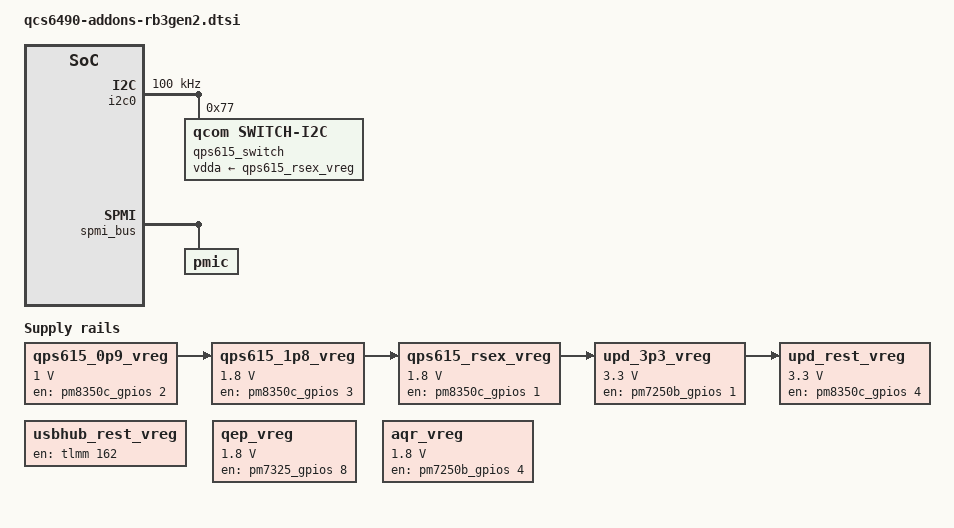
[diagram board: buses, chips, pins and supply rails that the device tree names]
// SPDX-License-Identifier: BSD-3-Clause
/*
 * qcm6490-addons-rb3gen2 device tree source include
 *
 * Copyright (c) 2024 Qualcomm Innovation Center, Inc. All rights reserved.
 *
 */
#include "qcm6490-addons.dtsi"

/ {
	qps615_0p9_vreg: qps615-0p9-vreg {
		compatible = "regulator-fixed";
		regulator-name = "qps615_0p9_vreg";
		gpio = <&pm8350c_gpios 2 0>;
		regulator-min-microvolt = <1000000>;
		regulator-max-microvolt = <1000000>;
		enable-active-high;
		regulator-enable-ramp-delay = <4300>;
	};

	qps615_1p8_vreg: qps615-1p8-vreg {
		compatible = "regulator-fixed";
		regulator-name = "qps615_1p8_vreg";
		gpio = <&pm8350c_gpios 3 0>;
		vin-supply = <&qps615_0p9_vreg>;
		regulator-min-microvolt = <1800000>;
		regulator-max-microvolt = <1800000>;
		enable-active-high;
		regulator-enable-ramp-delay = <10000>;
	};

	qps615_rsex_vreg: qps615-rsex-vreg {
		compatible = "regulator-fixed";
		regulator-name = "qps615_rsex_vreg";
		gpio = <&pm8350c_gpios 1 0>;
		vin-supply = <&qps615_1p8_vreg>;
		regulator-min-microvolt = <1800000>;
		regulator-max-microvolt = <1800000>;
		enable-active-high;
		regulator-enable-ramp-delay = <10000>;
	};

	upd_3p3_vreg: upd_3p3_vreg {
		compatible = "regulator-fixed";
		regulator-name = "upd_3p3_vreg";
		gpio = <&pm7250b_gpios 1 0>;
		vin-supply = <&qps615_rsex_vreg>;
		regulator-min-microvolt = <3300000>;
		regulator-max-microvolt = <3300000>;
		enable-active-high;
		regulator-enable-ramp-delay = <10000>;
		regulator-always-on;
	};

	upd_rest_vreg: upd_rest_vreg {
		compatible = "regulator-fixed";
		regulator-name = "upd_rest_vreg";
		gpio = <&pm8350c_gpios 4 0>;
		vin-supply = <&upd_3p3_vreg>;
		regulator-min-microvolt = <3300000>;
		regulator-max-microvolt = <3300000>;
		enable-active-high;
		regulator-always-on;
	};

	usbhub_rest_vreg: usbhub_rest_vreg {
		compatible = "regulator-fixed";
		regulator-name = "usbhub_rest_vreg";
		pinctrl-names = "default";
		pinctrl-0 = <&pcie1_usb_hub_reset_default>;
		gpio = <&tlmm 162 GPIO_ACTIVE_LOW>;
		enable-active-high;
	};

	qep_vreg: qep_vreg {
		compatible = "regulator-fixed";
		regulator-name = "qep_vreg";
		gpio = <&pm7325_gpios 8 0>;
		regulator-min-microvolt = <1800000>;
		regulator-max-microvolt = <1800000>;
		enable-active-high;
	};

	aqr_vreg: aqr_vreg {
		compatible = "regulator-fixed";
		regulator-name = "aqr_vreg";
		gpio = <&pm7250b_gpios 4 0>;
		regulator-min-microvolt = <1800000>;
		regulator-max-microvolt = <1800000>;
		enable-active-high;
	};
};

&i2c0 {
	clock-frequency = <100000>;
	status = "okay";

	qps615_switch: pcie-switch@77 {
		compatible = "qcom,switch-i2c";
		reg = <0x77>;
		vdda-supply = <&qps615_rsex_vreg>;

		status = "okay";
	};
};

&pcie1 {
	dummy-supply = <&qps615_switch>;
	pcieport0: pcie@0 {
		device_type = "pci";
		reg = <0x0 0x0 0x0 0x0 0x0>;
		#address-cells = <5>;
		#size-cells = <0>;

		/* BDF 1.0.0 */
		pcie1_bus1_dev0_fn0: pcie1_bus1_dev0_fn0 {
			reg = <0 0 0 0 0>;

			/* BDF 2.1.0 */
			pcie1_bus2_dev1_fn0: pcie1_bus2_dev1_fn0 {
				reg = <0x800 0x0 0x0 0x0 0x0>;

				/* BDF 3.0.0 */
				pcie1_bus3_dev0_fn0: pcie1_bus3_dev0_fn0 {
					reg = <0x0 0x0 0x0 0x0 0x0>;
				};
			};

			/* BDF 2.2.0 */
			pcie1_bus2_dev2_fn0: pcie1_bus2_dev2_fn0 {
				reg = <0x1000 0x0 0x0 0x0 0x0>;

				/* BDF 4.0.0 */
				pcie1_bus4_dev0_fn0: pcie1_bus4_dev0_fn0 {
					reg = <0x0 0x0 0x0 0x0 0x0>;
				};
			};

			/* BDF 2.3.0 */
			pcie1_bus2_dev3_fn0: pcie1_bus2_dev3_fn0 {
				reg = <0x1800 0x0 0x0 0x0 0x0>;
				qps615_eth0,qps615_eth0@pcie1_rp {
					reg = <0x0 0x0 0x0 0x0 0x0>;
					pinctrl-names = "default";
					pinctrl-0 = <&aqr_intn_wol_sig>;
					qcom,phy-rst-gpio = <0>;
					interrupts-extended = <&tlmm 141 IRQ_TYPE_EDGE_FALLING>;
					interrupt-names = "wol_irq";
					phy-supply = <&aqr_vreg>;
					qcom,phy-rst-delay-us = <221000>;
					#address-cells = <1>;
					#size-cells = <1>;
				};

				/* BDF 5.0.0 */
				pcie1_bus5_dev0_fn0: pcie1_qps_eth0 {
					reg = <0x0 0x0 0x0 0x0 0x0>;
					qcom,iommu-group = <&eth0_pci_iommu_group>;
					eth0_pci_iommu_group: eth0_pci_iommu_group {
						qcom,iommu-dma = "atomic";
					};
				};

				qps615_eth1,qps615_eth1@pcie1_rp {
					reg = <0x100 0x0 0x0 0x0 0x0>;
					pinctrl-names = "default";
					pinctrl-0 = <&napa_intn_wol_sig>;
					qcom,phy-rst-gpio = <1>;
					interrupts-extended = <&tlmm 101 IRQ_TYPE_EDGE_FALLING>;
					interrupt-names = "wol_irq";
					phy-supply = <&qep_vreg>;
					qcom,phy-rst-delay-us = <20000>;
					#address-cells = <1>;
					#size-cells = <1>;
				};

				/* BDF 5.0.1 */
				pcie1_bus5_dev0_fn1: pcie1_qps_eth1 {
					reg = <0x100 0x0 0x0 0x0 0x0>;
					qcom,iommu-group = <&eth1_pci_iommu_group>;
					eth1_pci_iommu_group: eth1_pci_iommu_group {
						qcom,iommu-dma = "atomic";
					};
				};
			};

		};
	};
};

&pcie1_phy {
	qcom,refclk-always-on;
};

&q6apmbedai {
	qcom,prmcc_clk = <&q6prmcc>;
};

&sound {

	pinctrl-names = "default", "stub_aif1_active", "stub_aif1_sleep";
	pinctrl-0 = <&mi2s0_data0_sleep>, <&mi2s0_data1_sleep>, <&mi2s0_mclk_sleep>,
		    <&mi2s0_sclk_sleep>, <&mi2s0_ws_sleep>;
	pinctrl-1 = <&mi2s0_data0>, <&mi2s0_data1>, <&mi2s0_mclk>, <&mi2s0_sclk>, <&mi2s0_ws>;
	pinctrl-2 = <&mi2s0_data0_sleep>, <&mi2s0_data1_sleep>, <&mi2s0_mclk_sleep>,
		    <&mi2s0_sclk_sleep>, <&mi2s0_ws_sleep>;

	mi2s-capture-dai-link {
		link-name = "MI2S-LPAIF-TX-PRIMARY";

		cpu {
			sound-dai = <&q6apmbedai PRIMARY_MI2S_TX>;
		};

		codec {
			sound-dai = <&msm_stub_codec 1>;
		};
	};

	mi2s-playback-dai-link {
		link-name = "MI2S-LPAIF-RX-PRIMARY";

		cpu {
			sound-dai = <&q6apmbedai PRIMARY_MI2S_RX>;
		};

		codec {
			sound-dai = <&msm_stub_codec 0>;
		};
	};

	tdm-capture-dai-link {
		link-name = "TDM-LPAIF-TX-PRIMARY";

		cpu {
			sound-dai = <&q6apmbedai PRIMARY_TDM_TX_0>;
		};

		codec {
			sound-dai = <&msm_stub_codec 1>;
		};
	};

	tdm-playback-dai-link {
		link-name = "TDM-LPAIF-RX-PRIMARY";

		cpu {
			sound-dai = <&q6apmbedai PRIMARY_TDM_RX_0>;
		};

		codec {
			sound-dai = <&msm_stub_codec 0>;
		};
	};

};

&tlmm {
	mi2s0_data0_sleep: mi2s0-data0-sleep {
		pins = "gpio98";
		function = "gpio";
		drive-strength = <2>;
		bias-pull-down;
		input-enable;
	};

	mi2s0_data1_sleep: mi2s0-data1-sleep {
		pins = "gpio99";
		function = "gpio";
		drive-strength = <2>;
		bias-pull-down;
		input-enable;
	};

	mi2s0_mclk_sleep: mi2s0-mclk-sleep {
		pins = "gpio96";
		function = "gpio";
		drive-strength = <2>;
		bias-pull-down;
		input-enable;
	};

	mi2s0_sclk_sleep: mi2s0-sclk-sleep {
		pins = "gpio97";
		function = "gpio";
		drive-strength = <2>;
		bias-pull-down;
		input-enable;
	};

	mi2s0_ws_sleep: mi2s0-ws-sleep {
		pins = "gpio100";
		function = "gpio";
		drive-strength = <2>;
		bias-pull-down;
		input-enable;
	};

	pcie1_usb_hub_reset_default: pcie1_usb_hub_reset_default {
		pins = "gpio162";
		function = "gpio";
		drive-strength = <2>;
		output-high;
		bias-pull-down;
	};

	qps615_intn_wol {
		aqr_intn_wol_sig: aqr_intn_wol_sig {
			mux {
				pins = "gpio141";
				function = "gpio";
			};

			config {
				pins = "gpio141";
				input-enable;
				bias-disable;
			};
		};

		napa_intn_wol_sig: napa_intn_wol_sig {
			mux {
				pins = "gpio101";
				function = "gpio";
			};

			config {
				pins = "gpio101";
				input-enable;
				bias-disable;
			};
		};
	};
};

&mi2s0_data0 {
	drive-strength = <8>;
	bias-disable;
};

&mi2s0_data1 {
	drive-strength = <8>;
	bias-disable;
};

&mi2s0_mclk {
	drive-strength = <8>;
	bias-disable;
	output-high;
};

&mi2s0_sclk {
	drive-strength = <8>;
	bias-disable;
	output-high;
};

&mi2s0_ws {
	drive-strength = <8>;
	bias-disable;
	output-high;
};

&spmi_bus {
	pmic@PM7250B_SID {
		pm7250b_bcl: bcl@1d00 {
			compatible = "qcom,bcl-v5";
			reg = <0x1d00>;
			interrupts = <PM7250B_SID 0x1d 0x0 IRQ_TYPE_EDGE_RISING>,
					<PM7250B_SID 0x1d 0x1 IRQ_TYPE_EDGE_RISING>,
					<PM7250B_SID 0x1d 0x2 IRQ_TYPE_EDGE_RISING>;
			interrupt-names = "bcl-lvl0",
						"bcl-lvl1",
						"bcl-lvl2";
			#thermal-sensor-cells = <1>;
		};
	};
};

&thermal_zones {
	pm7250b-ibat-lvl0 {
		polling-delay-passive = <0>;
		polling-delay = <0>;
		thermal-sensors = <&pm7250b_bcl 0>;

		trips {
			ibat_lvl0:ibat-lvl0 {
				temperature = <6000>;
				hysteresis = <200>;
				type = "passive";
			};
		};
	};

	pm7250b-ibat-lvl1 {
		polling-delay-passive = <0>;
		polling-delay = <0>;
		thermal-sensors = <&pm7250b_bcl 1>;

		trips {
			ibat_lvl1:ibat-lvl1 {
				temperature = <7500>;
				hysteresis = <200>;
				type = "passive";
			};
		};
	};

	pm7250b-bcl-lvl0 {
		polling-delay-passive = <100>;
		polling-delay = <0>;
		thermal-sensors = <&pm7250b_bcl 5>;

		trips {
			b_bcl_lvl0: b-bcl-lvl0 {
				temperature = <1>;
				hysteresis = <1>;
				type = "passive";
			};
		};

		cooling-maps {
			map0 {
				trip = <&b_bcl_lvl0>;
				cooling-device = <&CPU4_idle 100 100>;
			};

			map1 {
				trip = <&b_bcl_lvl0>;
				cooling-device = <&CPU5_idle 100 100>;
			};

			map2 {
				trip = <&b_bcl_lvl0>;
				cooling-device = <&CPU6_idle 100 100>;
			};

			map3 {
				trip = <&b_bcl_lvl0>;
				cooling-device = <&CPU7_idle 100 100>;
			};

			map4 {
				trip = <&b_bcl_lvl0>;
				cooling-device = <&cdsp_sw 2 2>;
			};

			map5 {
				trip = <&b_bcl_lvl0>;
				cooling-device = <&modem_pa 2 2>;
			};

			map6 {
				trip = <&b_bcl_lvl0>;
				cooling-device = <&modem_tj 1 1>;
			};
		};
	};

	pm7250b-bcl-lvl1 {
		polling-delay-passive = <100>;
		polling-delay = <0>;
		thermal-sensors = <&pm7250b_bcl 6>;

		trips {
			b_bcl_lvl1: b-bcl-lvl1 {
				temperature = <1>;
				hysteresis = <1>;
				type = "passive";
			};
		};

		cooling-maps {
			map0 {
				trip = <&b_bcl_lvl1>;
				cooling-device = <&msm_gpu 5 THERMAL_NO_LIMIT>;
			};

			map1 {
				trip = <&b_bcl_lvl1>;
				cooling-device = <&cdsp_sw 4 4>;
			};

			map2 {
				trip = <&b_bcl_lvl1>;
				cooling-device = <&modem_tj 3 3>;
			};
		};
	};

	pm7250b-bcl-lvl2 {
		polling-delay-passive = <100>;
		polling-delay = <0>;
		thermal-sensors = <&pm7250b_bcl 7>;

		trips {
			b_bcl_lvl2: b-bcl-lvl2 {
				temperature = <1>;
				hysteresis = <1>;
				type = "passive";
			};
		};

		cooling-maps {
			map0 {
				trip = <&b_bcl_lvl2>;
				cooling-device = <&cdsp_sw 5 5>;
			};
		};
	};
};
